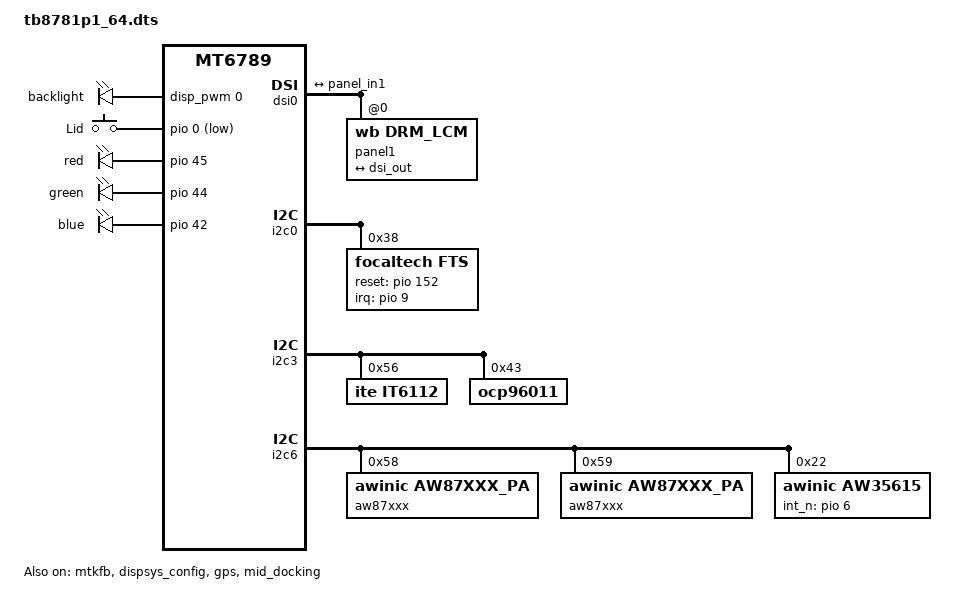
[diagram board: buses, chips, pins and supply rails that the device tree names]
// SPDX-License-Identifier: (GPL-2.0 OR MIT)
/*
 * Copyright (C) 2021 MediaTek Inc.
 */
/dts-v1/;
/plugin/;
#include <dt-bindings/interrupt-controller/arm-gic.h>
#include <dt-bindings/interrupt-controller/irq.h>
#include <dt-bindings/pinctrl/mt6789-pinfunc.h>
#include "mediatek/cust_mt6789_camera.dtsi"
#include <dt-bindings/gpio/gpio.h>
#include <dt-bindings/input/input.h>
#include <generated/wb_config.h>
#include <generated/autoconf.h>
#include "mediatek/bat_setting/wb_mt6789_battery_common.dtsi"
#include "mediatek/lcd/1_wb_lcd_panel_list.dtsi"

&chosen {
};

&android {
	hardware = "mt8781";
};

&mtk_leds {
	compatible = "mediatek,pwm-leds";

	backlight {
		led_mode = <5>;
		gate_enable = <1>;
        	pwms = <&disp_pwm 0 39385>;
		pwm_config = <0 1 0 0 0>;
	};
};

&pio {
	mtkfb_pins_lcd_bias_enp1: lcd_bias_enp1_gpio {
		pins_cmd_dat {
			pinmux = <PINMUX_GPIO38__FUNC_GPIO38>;
			slew-rate = <1>;
			output-high;
		};
	};

	mtkfb_pins_lcd_bias_enp0: lcd_bias_enp0_gpio {
		pins_cmd_dat {
			pinmux = <PINMUX_GPIO38__FUNC_GPIO38>;
			slew-rate = <1>;
			output-low;
		};
	};

	mtkfb_pins_lcd_bias_enn1: lcd_bias_enn1_gpio {
		pins_cmd_dat {
			pinmux = <PINMUX_GPIO39__FUNC_GPIO39>;
			slew-rate = <1>;
			output-high;
		};
	};

	mtkfb_pins_lcd_bias_enn0: lcd_bias_enn0_gpio {
		pins_cmd_dat {
			pinmux = <PINMUX_GPIO39__FUNC_GPIO39>;
			slew-rate = <1>;
			output-low;
		};
	};

	mtkfb_pins_lcm_led_en1: lcm_led_en1_gpio {
		pins_cmd_dat {
			pinmux = <PINMUX_GPIO12__FUNC_GPIO12>;
			slew-rate = <1>;
			output-high;
		};
	};

	mtkfb_pins_lcm_led_en0: lcm_led_en0_gpio {
		pins_cmd_dat {
			pinmux = <PINMUX_GPIO12__FUNC_GPIO12>;
			slew-rate = <1>;
			output-low;
		};
	};

	mtkfb_pins_lcm_rst_out1_gpio: lcm_rst_out1_gpio {
		pins_cmd_dat {
			pinmux = <PINMUX_GPIO85__FUNC_GPIO85>;
			slew-rate = <1>;
			output-high;
		};
	};

	mtkfb_pins_lcm_rst_out0_gpio: lcm_rst_out0_gpio {
		pins_cmd_dat {
			pinmux = <PINMUX_GPIO85__FUNC_GPIO85>;
			slew-rate = <1>;
			output-low;
		};
	};
	mtkfb_pins_lcm_dsi_te: lcm_dsi_te {
		pins_cmd_dat {
			pinmux = <PINMUX_GPIO83__FUNC_DSI_TE>;
		};
	};
	mtkfb_pins_lcd_pwr_1v8_en: lcd_pwr_1v8_en_gpio {
		pins_cmd_dat {
			pinmux = <PINMUX_GPIO52__FUNC_GPIO52>;
		};
	};
	mtkfb_pins_lcd_pwr_3v3_en: lcd_pwr_3v3_en_gpio {
		/*pins_cmd_dat {
			pinmux = <PINMUX_GPIO51__FUNC_GPIO51>;
		};*/
	};    

	mtkfb_pins_tp_rst_gpio: tp_rst_gpio {
		pins_cmd_dat {
			pinmux = <PINMUX_GPIO152__FUNC_GPIO152>;
		};
	};    
};

&mtkfb {
	pinctrl-names = "lcd_bias_enp1_gpio", "lcd_bias_enp0_gpio",
		"lcd_bias_enn1_gpio", "lcd_bias_enn0_gpio",
        	"lcm_led_en1_gpio", "lcm_led_en0_gpio",
		"lcm_rst_out1_gpio", "lcm_rst_out0_gpio",
		"mode_te_te","lcd_pwr_1v8_en_gpio","lcd_pwr_3v3_en_gpio",
        	"tp_rst_gpio";
	pinctrl-0 = <&mtkfb_pins_lcd_bias_enp1>;
	pinctrl-1 = <&mtkfb_pins_lcd_bias_enp0>;
	pinctrl-2 = <&mtkfb_pins_lcd_bias_enn1>;
	pinctrl-3 = <&mtkfb_pins_lcd_bias_enn0>;        
	pinctrl-4 = <&mtkfb_pins_lcm_led_en1>;
	pinctrl-5 = <&mtkfb_pins_lcm_led_en0>;
	pinctrl-6 = <&mtkfb_pins_lcm_rst_out1_gpio>;
	pinctrl-7 = <&mtkfb_pins_lcm_rst_out0_gpio>;
	pinctrl-8 = <&mtkfb_pins_lcm_dsi_te>;
	pinctrl-9 = <&mtkfb_pins_lcd_pwr_1v8_en>;
	pinctrl-10 = <&mtkfb_pins_lcd_pwr_3v3_en>;
	pinctrl-11 = <&mtkfb_pins_tp_rst_gpio>;
	status = "okay";
};

&dispsys_config {
	pinctrl-names =
		"lcm_rst_out1_gpio", "lcm_rst_out0_gpio",
		"mode_te_te";
	pinctrl-0 = <&mtkfb_pins_lcm_rst_out1_gpio>;
	pinctrl-1 = <&mtkfb_pins_lcm_rst_out0_gpio>;
	pinctrl-2 = <&mtkfb_pins_lcm_dsi_te>;
	status = "okay";
};

&dsi0 {
	status = "okay";
	#address-cells = <1>;
	#size-cells = <0>;
	panel1@0 {
		compatible = "wb,drm_lcm";
		reg = <0>;
		pinctrl-names = "default";
		//rotation = <90>;
		port {
			panel_in1: endpoint {
				remote-endpoint = <&dsi_out>;
			};
		};
	};
	
	ports {
		port {
			dsi_out: endpoint {
				remote-endpoint = <&panel_in1>;
			};
		};
	};
};
#if !defined(M100TB_YH_494)
&odm {
	gpio_keys: gpio-keys{
		compatible = "gpio-keys";

		lid {
			label = "Lid";
			gpios = <&pio 0 GPIO_ACTIVE_LOW>;
			linux,code = <SW_LID>;
			linux,input-type = <EV_SW>;
			gpio-key,wakeup;
		};
	};
};
#endif

/* GPS GPIO standardization start */
&pio {
	gps_pins_default: gps_default {
	};
	gps_l1_lna_pins_ol: gps_l1_lna@0 {
		pins_cmd_dat {
			pinmux = <PINMUX_GPIO25__FUNC_GPIO25>;
			output-low;
		};
	};
	gps_l1_lna_pins_dsp_ctrl: gps_l1_lna@1 {
		pins_cmd_dat {
			pinmux = <PINMUX_GPIO25__FUNC_GPS_L1_ELNA_EN>;
		};
	};
	gps_l1_lna_pins_oh: gps_l1_lna@2 {
		pins_cmd_dat {
			pinmux = <PINMUX_GPIO25__FUNC_GPIO25>;
			output-high;
		};
	};
	gps_l5_lna_pins_ol: gps_l5_lna@0 {
		pins_cmd_dat {
			pinmux = <PINMUX_GPIO26__FUNC_GPIO26>;
			output-low;
		};
	};
	gps_l5_lna_pins_dsp_ctrl: gps_l5_lna@1 {
		pins_cmd_dat {
			pinmux = <PINMUX_GPIO26__FUNC_GPS_L5_ELNA_EN>;
		};
	};
	gps_l5_lna_pins_oh: gps_l5_lna@2 {
		pins_cmd_dat {
			pinmux = <PINMUX_GPIO26__FUNC_GPIO26>;
			output-high;
		};
	};
};
/*
&extcon_usb {
	pinctrl-names = "default";
	pinctrl-0 = <&docking_eint_default>;
	docking_eint_gpio = <&pio 10 0x0>;
	interrupt-parent = <&pio>;
	interrupts = <10 IRQ_TYPE_LEVEL_LOW 10 0>;
};

&pio {
	docking_eint_default: docking_eint_default {
		pins_cmd_dat {
			pinmux = <PINMUX_GPIO10__FUNC_GPIO10>;
			slew-rate = <0>;
			bias-pull-up;
		};
	};
};
*/
&cust_gpios {
	compatible = "cust,cust_gpios";
	gpio_it6112_en = <&pio 46 0>;
	gpio_bias_pos = <&pio 150 0>;
	gpio_bias_neg = <&pio 151 0>;
	gpio_lcm_1v8 = <&pio 155 0>;
	gpio_lcm_3v3 = <&pio 42 0>;
	gpio_lcm_rst = <&pio 85 0>;
	//gpio_tp_rst = <&pio 152 0>;

	/*gpio_typec_otg_en   = <&pio 40 0>;*/
	/*gpio_otg_5v_en      = <&pio 36 0>;*/
	/*gpio_docking_en     = <&pio 38 0>;*/
	/*gpio_usb_switch     = <&pio 41 0>;*/
	gpio_auhpr_spk_sw   = <&pio 15 0>;
	gpio_usb_hp_sw      = <&pio 53 0>;
	status = "okay";
};

&gps {
	pinctrl-names = "default",
		"gps_l1_lna_disable",
		"gps_l1_lna_dsp_ctrl",
		"gps_l1_lna_enable",
		"gps_l5_lna_disable",
		"gps_l5_lna_dsp_ctrl",
		"gps_l5_lna_enable";
	pinctrl-0 = <&gps_pins_default>;
	pinctrl-1 = <&gps_l1_lna_pins_ol>;
	pinctrl-2 = <&gps_l1_lna_pins_dsp_ctrl>;
	pinctrl-3 = <&gps_l1_lna_pins_oh>;
	pinctrl-4 = <&gps_l5_lna_pins_ol>;
	pinctrl-5 = <&gps_l5_lna_pins_dsp_ctrl>;
	pinctrl-6 = <&gps_l5_lna_pins_oh>;
	status = "okay";
};
/* GPS GPIO standardization end */

//#include "mediatek/gt9xx_dts.dtsi"
//#include "mediatek/cust_mt6789_touch_1080x2400.dtsi"
//#include "mediatek/cust_mt6789_camera_v4l2.dtsi"

&i2c0 {
        focaltech@38{ 
            pinctrl-names = "i2c0_pull_down", "i2c0_pull_up";
            pinctrl-0 = <&i2c0_pull_down_ctrl>;
            pinctrl-1 = <&i2c0_pull_up_ctrl>;
            compatible = "focaltech,fts";
            reg = <0x38>;
            interrupt-parent = <&pio>;
            interrupts = <9 IRQ_TYPE_EDGE_FALLING 9 0>;
            focaltech,reset-gpio = <&pio 152 0>; 
            focaltech,irq-gpio = <&pio 9 IRQ_TYPE_EDGE_FALLING>;
            focaltech,max-touch-number = <10>;
            focaltech,display-coords =  <0 0 1200 2000>;
        };
// 
//        jadard@68{
//            compatible = "jadard,jdcommon";
//            reg = <0x68>;
//            interrupt-parent = <&pio>;
//            interrupts = <9 IRQ_TYPE_EDGE_FALLING 9 0>;
//            jadard,panel-sense-nums = <30 48>;
//            jadard,panel-coords = <0 1200 0 2000>;
//            jadard,panel-max-points = <10>;
//            jadard,int-is-edge = <1>;
//            jadard,irq-gpio = <&pio 9 0>;
//            jadard,rst-gpio = <&pio 152 0>;
//        };
//
//        gslx680@68{
//            compatible = "mediatek,cap_touch";
//            reg = <0x40>;
//            gsl,irq-gpios = <&pio 9 0>;
//            gsl,reset-gpios = <&pio 152 0>;
//            gsl,power-gpios = <&pio 50 0>;
//        };
};

&pio {
    i2c0_pull_down_ctrl: i2c0_pull_down_ctrl {
    pins_cmd_dat {
            pinmux = <PINMUX_GPIO130__FUNC_SCL0>,
                        <PINMUX_GPIO131__FUNC_SDA0>;
            slew-rate = <0>;
            bias-pull-down;
        };
    };

    i2c0_pull_up_ctrl: i2c0_pull_up_ctrl {
        pins_cmd_dat {
            pinmux = <PINMUX_GPIO130__FUNC_SCL0>,
                        <PINMUX_GPIO131__FUNC_SDA0>;
            slew-rate = <0>;
            bias-pull-up;
        };
    };
};


&i2c1 {
/*
    aw87xxx@58 {
        compatible = "awinic,aw87xxx_pa";
        reg = <0x58>;
        dev_index = <0>;
        status = "okay";
    }; 
    aw87xxx@59 {
        compatible = "awinic,aw87xxx_pa";
        reg = <0x59>;
        dev_index = <3>;
        status = "okay";
    };
*/
};


&i2c3 {
	it6112@56 {
		compatible = "ite,it6112";
		reg = <0x56>;                      
		status = "okay";
	};
	ocp96011@43 {
		status = "okay";
		compatible = "ocp96011";
		tcpc = "type_c_port0";
		reg = <0x43>;
	};
};
    
&i2c6 {
   status = "okay";
   aw87xxx@58 {
        compatible = "awinic,aw87xxx_pa";
        reg = <0x58>;
        dev_index = <1>;
        status = "okay";
    }; 
    aw87xxx@59 {
        compatible = "awinic,aw87xxx_pa";
        reg = <0x59>;
        dev_index = <2>;
        status = "okay";
    };
	aw35615@22 {
		pinctrl-names = "int_n_pullup";
		pinctrl-0 = <&int_n_pull_up_ctrl>;
		compatible = "awinic,aw35615";
		reg = <0x22>;
		awinic,int_n = <&pio 6 0>;
		aw35615,snk_pdo_size = <1>; /* set sink pdo num*/
		aw35615,snk_pdo_vol = <9000>; /* set sink pdo voltage mV*/
		aw35615,snk_pdo_cur = <2000>; /* set sink pdo current mA*/
		aw35615,src_pdo_size = <1>; /* set source pdo num*/
		aw35615,src_pdo_vol = <5000>; /* set source pdo voltage mV*/
		aw35615,src_pdo_cur = <1000>; /* set source pdo current mA*/
		aw35615,snk_tog_time = <0x38>; /* set toggle sink time */
		aw35615,src_tog_time = <0x24>; /* set toggle source time */
		status = "okay";
	};
};
&pio {
	int_n_pull_up_ctrl: int_n_pull_up_ctrl {
	pins_cmd_dat {
			pinmux = <PINMUX_GPIO6__FUNC_GPIO6>;
			slew-rate = <0>;
			bias-pull-up;
		};
	};
};

&leds{
	red {
		label = "red";
		gpios = <&pio 45 0x0>;
		default-state = "off";
	};

	green {
		label = "green";
		gpios = <&pio 44 0x0>;
		default-state = "off";
	};

	blue {
		label = "blue";
		gpios = <&pio 42 0x0>;
		default-state = "off";
	};
};

&lk_charger{
	max_charger_voltage = <11000000>;
};


&pdc {
#if 1// defined(M100TB_DG_P3PRO_527)
	pd_vbus_upper_bound = <9000000>;
#else
        pd_vbus_upper_bound = <12000000>;
#endif
	dcs_chg1_charger_current = <3000000>;
	dcs_chg2_charger_current = <3000000>;
	sc_input_current = <3200000>;
        sc_charger_current = <3600000>;
};


&pe2 {
	/* dual charger in series*/
	dcs_input_current = <6000000>;
	dcs_chg1_charger_current = <3000000>;
	dcs_chg2_charger_current = <3000000>;
#if 1 //defined(M100TB_DG_P3PRO_527)
	status = "disabled";
#endif
};

&pe4 {
	/* dual charger in series*/
	dcs_input_current = <6000000>;
	dcs_chg1_charger_current = <3000000>;
	dcs_chg2_charger_current = <3000000>;
#if 1 //defined(M100TB_DG_P3PRO_527)
	status = "disabled";
#endif
};

&charger {
	/*min_charger_voltage_1 = <4300000>;*/
	/*max_dmivr_charger_current = <3000000>;*/	
	max_charger_voltage = <11000000>;
	charger_configuration= <0>;
        charger_unlimited;
#if defined(CONFIG_WB_HIGH_4V4_BATTERY_SUPPORT)
	battery_cv = <4400000>;
#elif defined(CONFIG_WB_HIGH_BATTERY_SUPPORT)
	battery_cv = <4350000>;
#else
	battery_cv = <4200000>;
#endif
};

#if 0 //ndef CONFIG_CHARGER_SC8989X
&mt6375_typec {
	pd-data {
		pd,sink-pdo-data = <0x0003c12c 0x000190c8> ;
	};
};
#endif

&accdet {
	headset-eint-level-pol = <8>;
};

&mid_docking {
   interrupt-parent = <&pio>;
   interrupts = <10 IRQ_TYPE_LEVEL_HIGH>;
   gpio_dock_3v3_en=<&pio 38 0x0>;
   gpio_docking_det=<&pio 10 0x0>;
   dock_bus-gpios = <&pio 38 0x0>;
   dock_in-gpios = <&pio 10 0x0>;
   status = "okay";
};

#include "mediatek/atouch/focaltech-spi0.dtsi"
//#include "mediatek/atouch/himax.dtsi"
#include "mediatek/cust_mt6789_msdc.dtsi"
//#include "mediatek/M131TCR100/aw35615.dtsi"
#include <tb8781p1_64/cust.dtsi>
/*End of this file, DO NOT ADD ANYTHING HERE*/
